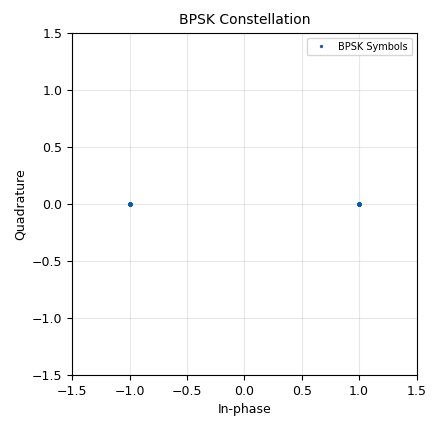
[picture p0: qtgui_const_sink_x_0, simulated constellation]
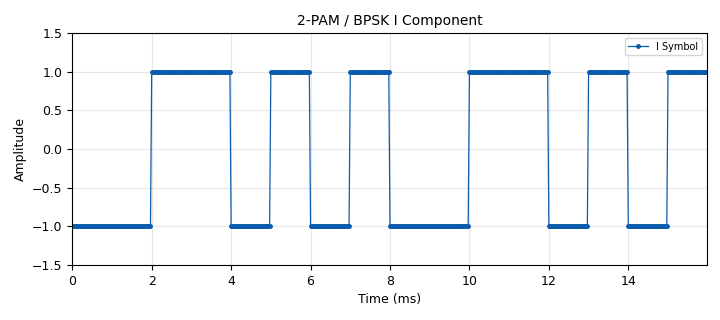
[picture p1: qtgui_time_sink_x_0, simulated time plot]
options:
  parameters:
    author: Dhrubjun
    generate_options: qt_gui
    id: exp1
    output_language: python
    title: From 2-PAM to BPSK
  states: {}

blocks:
- name: samp_rate
  id: variable
  parameters:
    value: '32000'
  states: {}
- name: samples_per_symbol
  id: variable
  parameters:
    value: int(samp_rate/symbol_rate)
  states: {}
- name: symbol_rate
  id: variable
  parameters:
    value: '1000'
  states: {}
- name: analog_const_source_x_0
  id: analog_const_source_x
  parameters:
    const: '0'
    type: float
  states: {}
- name: blocks_float_to_complex_0
  id: blocks_float_to_complex
  parameters: {}
  states: {}
- name: blocks_repeat_0_0
  id: blocks_repeat
  parameters:
    interp: samples_per_symbol
    type: float
  states: {}
- name: blocks_throttle2_0
  id: blocks_throttle2
  parameters:
    samples_per_second: samp_rate
    type: byte
  states: {}
- name: blocks_vector_source_x_0
  id: blocks_vector_source_x
  parameters:
    repeat: 'True'
    type: byte
    vector: (0, 1, 0, 0, 1, 1, 0, 1)
  states: {}
- name: digital_chunks_to_symbols_xx_0
  id: digital_chunks_to_symbols_xx
  parameters:
    dimension: '1'
    in_type: byte
    out_type: float
    symbol_table: '[-1, 1]'
  states: {}
- name: qtgui_const_sink_x_0
  id: qtgui_const_sink_x
  parameters:
    color1: '"red"'
    grid: 'True'
    label1: BPSK Symbols
    name: BPSK Constellation
    size: '512'
    type: complex
    width1: '3'
    xmax: '1.5'
    xmin: '-1.5'
    ymax: '1.5'
    ymin: '-1.5'
  states: {}
- name: qtgui_time_sink_x_0
  id: qtgui_time_sink_x
  parameters:
    grid: 'True'
    label1: I Symbol
    marker1: '0'
    name: 2-PAM / BPSK I Component
    size: '512'
    srate: samp_rate
    style1: '2'
    type: float
    ymax: '1.5'
    ymin: '-1.5'
  states: {}

connections:
- [analog_const_source_x_0, '0', blocks_float_to_complex_0, '1']
- [blocks_float_to_complex_0, '0', qtgui_const_sink_x_0, '0']
- [blocks_repeat_0_0, '0', blocks_float_to_complex_0, '0']
- [blocks_repeat_0_0, '0', qtgui_time_sink_x_0, '0']
- [blocks_throttle2_0, '0', digital_chunks_to_symbols_xx_0, '0']
- [blocks_vector_source_x_0, '0', blocks_throttle2_0, '0']
- [digital_chunks_to_symbols_xx_0, '0', blocks_repeat_0_0, '0']

metadata:
  file_format: 1
  grc_version: 3.10.12.0
